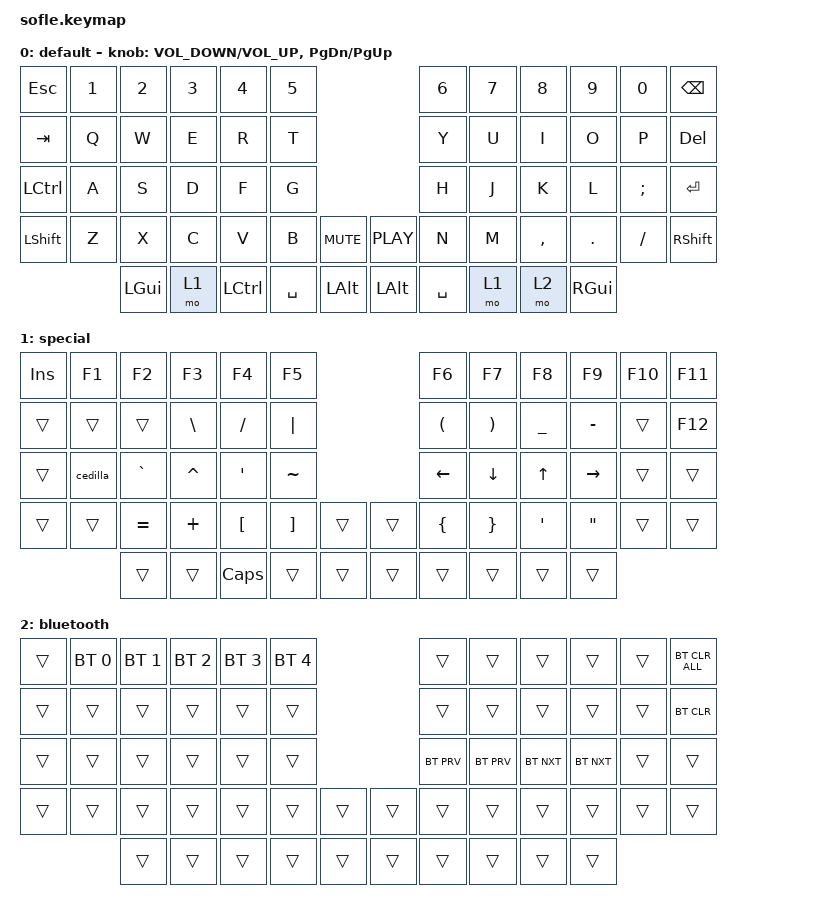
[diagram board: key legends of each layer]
/*
 * Copyright (c) 2020 The ZMK Contributors
 *
 * SPDX-License-Identifier: MIT
 */

#include <behaviors.dtsi>
#include <dt-bindings/zmk/bt.h>
#include <dt-bindings/zmk/keys.h>

#define BASE 0
#define SPECIAL 1
#define BLUETOOTH 2

/ {
    macros {
        cedilla: cedilla {
            compatible = "zmk,behavior-macro";
            #binding-cells = <0>;
            bindings =
                <&macro_press>,
                <&kp RIGHT_ALT>,
                <&macro_tap>,
                <&kp COMMA>,
                <&macro_release>,
                <&kp RIGHT_ALT>;

            label = "CEDILLA";
        };
    };

    keymap {
        compatible = "zmk,keymap";

        default_layer {
            display-name = "default";

            // ------------------------------------------------------------------------------------------------------------
            // |   `   |  1  |  2  |  3   |  4   |  5   |                   |  6   |  7    |  8    |  9   |   0   |       |
            // |  ESC  |  Q  |  W  |  E   |  R   |  T   |                   |  Y   |  U    |  I    |  O   |   P   | BKSPC |
            // |  TAB  |  A  |  S  |  D   |  F   |  G   |                   |  H   |  J    |  K    |  L   |   ;   |   '   |
            // | SHIFT |  Z  |  X  |  C   |  V   |  B   |  MUTE  |  |       |  N   |  M    |  ,    |  .   |   /   | SHIFT |
            //               | GUI | ALT  | CTRL | LOWER|  ENTER |  | SPACE | RAISE| CTRL  | ALT   | GUI  |

            bindings = <
&kp ESCAPE        &kp N1  &kp N2    &kp N3  &kp N4     &kp N5                                   &kp N6     &kp N7  &kp N8     &kp N9    &kp N0    &kp BACKSPACE
&kp TAB           &kp Q   &kp W     &kp E   &kp R      &kp T                                    &kp Y      &kp U   &kp I      &kp O     &kp P     &kp DELETE
&kp LEFT_CONTROL  &kp A   &kp S     &kp D   &kp F      &kp G                                    &kp H      &kp J   &kp K      &kp L     &kp SEMI  &kp ENTER
&kp LSHFT         &kp Z   &kp X     &kp C   &kp V      &kp B      &kp C_MUTE      &kp C_PLAY    &kp N      &kp M   &kp COMMA  &kp DOT   &kp FSLH  &kp RSHFT
                          &kp LGUI  &mo 1   &kp LCTRL  &kp SPACE  &kp LEFT_ALT    &kp LEFT_ALT  &kp SPACE  &mo 1   &mo 2      &kp RGUI
            >;

            sensor-bindings =
                <&inc_dec_kp C_VOLUME_DOWN C_VOLUME_UP>,
                <&inc_dec_kp PG_DN PG_UP>;
        };

        special_layer {
            display-name = "special";

            // TODO: Some binds are waiting for shifted keycode support.
            // ------------------------------------------------------------------------------------------------------------
            // |       |  F1 |  F2 |  F3  |  F4  |  F5  |                   |  F6  |  F7   |  F8   |  F9  |  F10  |  F11  |
            // |   `   |  1  |  2  |  3   |  4   |  5   |                   |  6   |  7    |  8    |  9   |   0   |  F12  |
            // |       |  !  |  @  |  #   |  $   |  %   |                   |  ^   |  &    |  *    |  (   |   )   |   |   |
            // |       |  =  |  -  |  +   |  {   |  }   |        |  |       |  [   |  ]    |  ;    |  :   |   \   |       |
            //               |     |      |      |      |        |  |       |      |       |       |      |

            bindings = <
&kp INSERT  &kp F1    &kp F2     &kp F3         &kp F4            &kp F5                               &kp F6                &kp F7                 &kp F8            &kp F9             &kp F10  &kp F11
&trans      &trans    &trans     &kp BACKSLASH  &kp SLASH         &kp PIPE                             &kp LEFT_PARENTHESIS  &kp RIGHT_PARENTHESIS  &kp UNDER         &kp MINUS          &trans   &kp F12
&trans      &cedilla  &kp GRAVE  &kp CARET      &kp SINGLE_QUOTE  &kp TILDE                            &kp LEFT              &kp DOWN               &kp UP_ARROW      &kp RIGHT          &trans   &trans
&trans      &trans    &kp EQUAL  &kp PLUS       &kp LEFT_BRACKET  &kp RIGHT_BRACKET  &trans    &trans  &kp LEFT_BRACE        &kp RIGHT_BRACE        &kp SINGLE_QUOTE  &kp DOUBLE_QUOTES  &trans   &trans
                      &trans     &trans         &kp CAPSLOCK      &trans             &trans    &trans  &trans                &trans                 &trans            &trans
            >;
        };

        bluetooth_layer {
            display-name = "bluetooth";
            bindings = <
&trans  &bt BT_SEL 0  &bt BT_SEL 1  &bt BT_SEL 2  &bt BT_SEL 3  &bt BT_SEL 4                    &trans      &trans      &trans      &trans      &trans  &bt BT_CLR_ALL
&trans  &trans        &trans        &trans        &trans        &trans                          &trans      &trans      &trans      &trans      &trans  &bt BT_CLR
&trans  &trans        &trans        &trans        &trans        &trans                          &bt BT_PRV  &bt BT_PRV  &bt BT_NXT  &bt BT_NXT  &trans  &trans
&trans  &trans        &trans        &trans        &trans        &trans        &trans    &trans  &trans      &trans      &trans      &trans      &trans  &trans
                      &trans        &trans        &trans        &trans        &trans    &trans  &trans      &trans      &trans      &trans
            >;
        };
    };
};
